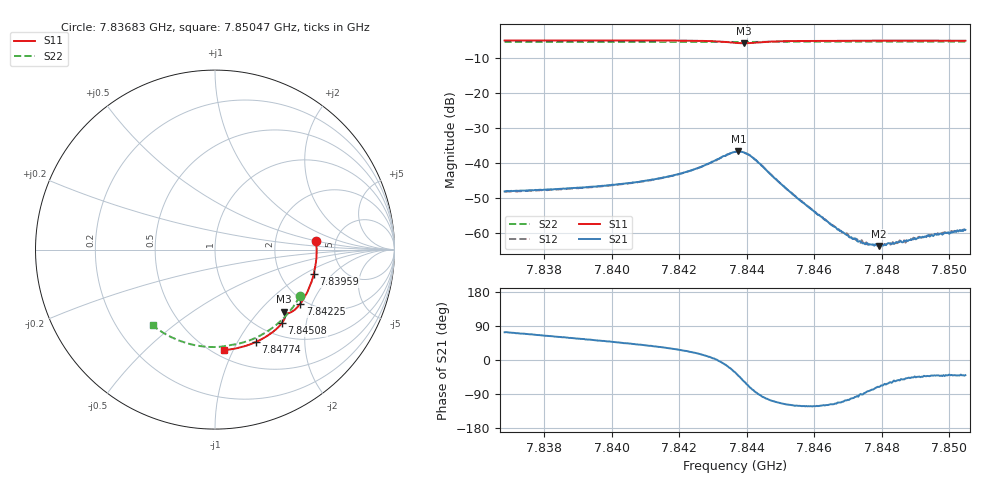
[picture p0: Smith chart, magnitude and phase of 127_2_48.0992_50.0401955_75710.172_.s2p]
#  HZ  S  RI  R  50.00
! Rohde & Schwarz Vector Network Analyzer
! Rohde-Schwarz,ZNB20-2Port,1311601062101988,3.16
! Created: UTC 12/23/2023, 3:47:22 AM
! freq[Hz]  re:S11  im:S11  re:S21  im:S21  re:S12  im:S12  re:S22  im:S22
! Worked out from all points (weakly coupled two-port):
!   401 points, 7.83683 GHz to 7.85047 GHz, reference 50 ohm
!   highest |S21| = -36.71 dB at 7.84375 GHz (marker M1); lowest = -63.8 dB at 7.84792 GHz (marker M2)
!   lowest |S11| = -5.7 dB at 7.84392 GHz (marker M3), VSWR 3.14, Z = 73.4 - j69.3 ohm
!   |S11| at or under -10 dB: nowhere
!   |S22| runs from -5.4 to -5.3 dB; largest |S21 - S12| = 0.00031
!   S11 on the Smith chart (normalised r, x): 7.83683 GHz: 3.54, +0.49; 7.83959 GHz: 3.07, -1.23; 7.84225 GHz: 1.86, -1.65; 7.84508 GHz: 1.24, -1.46; 7.84774 GHz: 0.79, -1.19; 7.85047 GHz: 0.56, -0.92
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7.836829e9  0.5643 0.0469  0.00113 0.00375  0.00116 0.00371  0.4729 -0.2595
7.839114e9  0.5572 -0.1047  0.00251 0.00367  0.00249 0.00361  0.3767 -0.3872
7.839592e9  0.5503 -0.1361  0.00291 0.00363  0.00285 0.0036  0.3523 -0.4099
7.840513e9  0.5317 -0.1955  0.00375 0.00354  0.00368 0.00355  0.3011 -0.4493
7.8414e9  0.5067 -0.2513  0.00494 0.0034  0.00492 0.00343  0.2477 -0.4811
7.842253e9  0.4743 -0.3028  0.00696 0.00293  0.00693 0.00293  0.1929 -0.5057
7.84314e9  0.4238 -0.3489  0.0113 -0.000155  0.0112 -0.000225  0.1333 -0.524
7.843651e9  0.3883 -0.3526  0.0122 -0.00764  0.0121 -0.00771  0.0988 -0.53
7.843754e9  0.3846 -0.3498  0.0109 -0.00976  0.011 -0.00964  0.0924 -0.5309
7.843924e9  0.384 -0.346  0.00765 -0.0118  0.00775 -0.0118  0.0817 -0.5329
7.844231e9  0.391 -0.3525  0.00139 -0.0112  0.0017 -0.0112  0.0618 -0.5368
7.845084e9  0.3739 -0.4078  -0.00201 -0.0042  -0.002 -0.00424  0.00231 -0.5427
7.845937e9  0.3311 -0.4517  -0.00114 -0.00179  -0.00115 -0.00183  -0.0578 -0.5404
7.846755e9  0.285 -0.4845  -0.000401 -0.000982  -0.000419 -0.000997  -0.1148 -0.532
7.847097e9  0.265 -0.4961  -0.000169 -0.000847  -0.0002 -0.000872  -0.1381 -0.5266
7.84754e9  0.2382 -0.5098  6.29e-05 -0.0007  5.48e-05 -0.000728  -0.1681 -0.518
7.847745e9  0.2259 -0.5158  0.000146 -0.000666  0.000151 -0.000646  -0.1817 -0.5136
7.847915e9  0.2153 -0.5201  0.000209 -0.00061  0.00022 -0.000632  -0.193 -0.5097
7.848222e9  0.1961 -0.5277  0.00036 -0.00061  0.00036 -0.000599  -0.2131 -0.5017
7.849211e9  0.1329 -0.547  0.000626 -0.000615  0.000633 -0.000605  -0.2754 -0.4711
7.849484e9  0.1151 -0.5509  0.000704 -0.000606  0.000739 -0.000628  -0.2916 -0.4613
7.850474e9  0.0499 -0.56  0.000842 -0.000709  0.000823 -0.000711  -0.348 -0.4209
